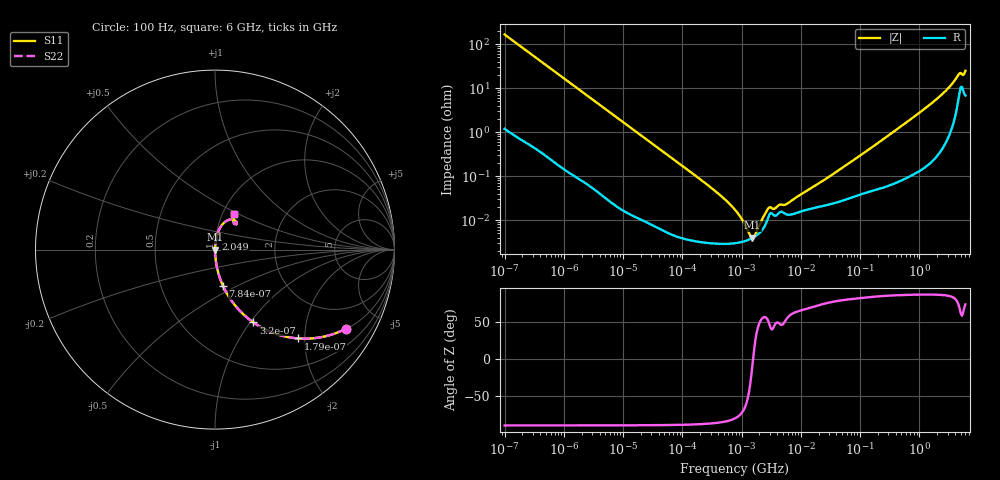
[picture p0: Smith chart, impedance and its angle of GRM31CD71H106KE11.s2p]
!Murata Part Number: GRM31CD71H106KE11
!These Parameters are Measured in Series Mode Connection
!Data Generated on Mar 30, 2021
!  o--ll--o
!Port1  Port2
!  o------o
!Operation Temp=25[degC], DC Bias Voltage=0[V]
!Freq. Start=100[Hz] Stop=6[GHz] 401[Steps]
# Hz S RI R 50
!Freq.(Hz) S11(Real) S11(Imag) S21(Real) S21(Imag) S12(Real) S12(Imag) S22(Real) S22(Imag)
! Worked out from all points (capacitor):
!   401 points, 100 Hz to 6 GHz, reference 50 ohm
!   read as one part in series: C = 9.63 uF near 109 Hz
!   lowest |Z| = 3.96 mohm at 1.516 MHz (marker M1)
!   series resonance near 1.562 MHz, so ESL is about 1.1 nH
!   S11 on the Smith chart (normalised r, x): 100 Hz: 1.02, -3.30; 179 Hz: 1.01, -1.85; 320 Hz: 1.01, -1.04; 784 Hz: 1.00, -0.43; 2.049 GHz: 1.01, +0.12; 6 GHz: 1.14, +0.47
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100  0.7301 -0.4403  0.2699 0.4403  0.2699 0.4403  0.7301 -0.4403
179  0.4612 -0.4947  0.5388 0.4947  0.5388 0.4947  0.4612 -0.4947
320  0.2136 -0.4057  0.7864 0.4057  0.7864 0.4057  0.2136 -0.4057
479  0.1096 -0.3082  0.8904 0.3082  0.8904 0.3082  0.1096 -0.3082
784  0.0449 -0.2028  0.9551 0.2028  0.9551 0.2028  0.0449 -0.2028
2008  0.00768 -0.0828  0.9923 0.0828  0.9923 0.0828  0.00768 -0.0828
40335  8.18e-05 -0.00423  0.9999 0.00423  0.9999 0.00423  8.18e-05 -0.00423
330837  2.96e-05 -0.000498  1 0.000498  1 0.000498  2.96e-05 -0.000498
774597  2.98e-05 -0.000169  1 0.000169  1 0.000169  2.98e-05 -0.000169
1059725  3.24e-05 -8.87e-05  1 8.87e-05  1 8.87e-05  3.24e-05 -8.87e-05
1516199  3.9e-05 -6.7e-06  1 6.7e-06  1 6.7e-06  3.9e-05 -6.7e-06
2074311  5.33e-05 6.7e-05  0.9999 -6.7e-05  0.9999 -6.7e-05  5.33e-05 6.7e-05
2967816  0.000135 0.000142  0.9999 -0.000142  0.9999 -0.000142  0.000135 0.000142
3549919  0.000127 0.000126  0.9999 -0.000126  0.9999 -0.000126  0.000127 0.000126
4440638  0.000152 0.000165  0.9998 -0.000165  0.9998 -0.000165  0.000152 0.000165
5809218  0.000134 0.00019  0.9999 -0.00019  0.9999 -0.00019  0.000134 0.00019
1.555665e7  0.000184 0.000516  0.9998 -0.000516  0.9998 -0.000516  0.000184 0.000516
3.124326e8  0.000684 0.00863  0.9993 -0.00863  0.9993 -0.00863  0.000684 0.00863
2.048624e9  0.0064 0.0584  0.9936 -0.0584  0.9936 -0.0584  0.0064 0.0584
3.505958e9  0.0252 0.1156  0.9748 -0.1156  0.9748 -0.1156  0.0252 0.1156
4.586474e9  0.0839 0.1681  0.9161 -0.1681  0.9161 -0.1681  0.0839 0.1681
6e9  0.1074 0.1982  0.8926 -0.1982  0.8926 -0.1982  0.1074 0.1982
